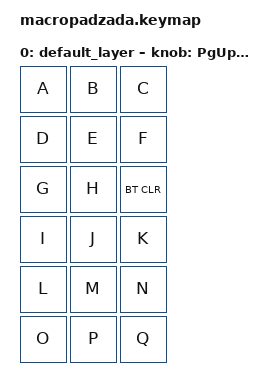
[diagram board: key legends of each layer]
#include <behaviors.dtsi>
#include <dt-bindings/zmk/keys.h>
#include <dt-bindings/zmk/bt.h>

/ {
    keymap {
        compatible = "zmk,keymap";
        default_layer {
            bindings = <
                &kp A       &kp B       &kp C
                &kp D       &kp E       &kp F
                &kp G       &kp H       &bt BT_CLR
                &kp I       &kp J       &kp K
                &kp L       &kp M       &kp N
                &kp O       &kp P       &kp Q
            >;
            sensor-bindings = <&inc_dec_kp PG_UP PG_DN &inc_dec_kp C_VOL_DN C_VOL_UP &inc_dec_kp LEFT RIGHT>;
        };
    };
};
